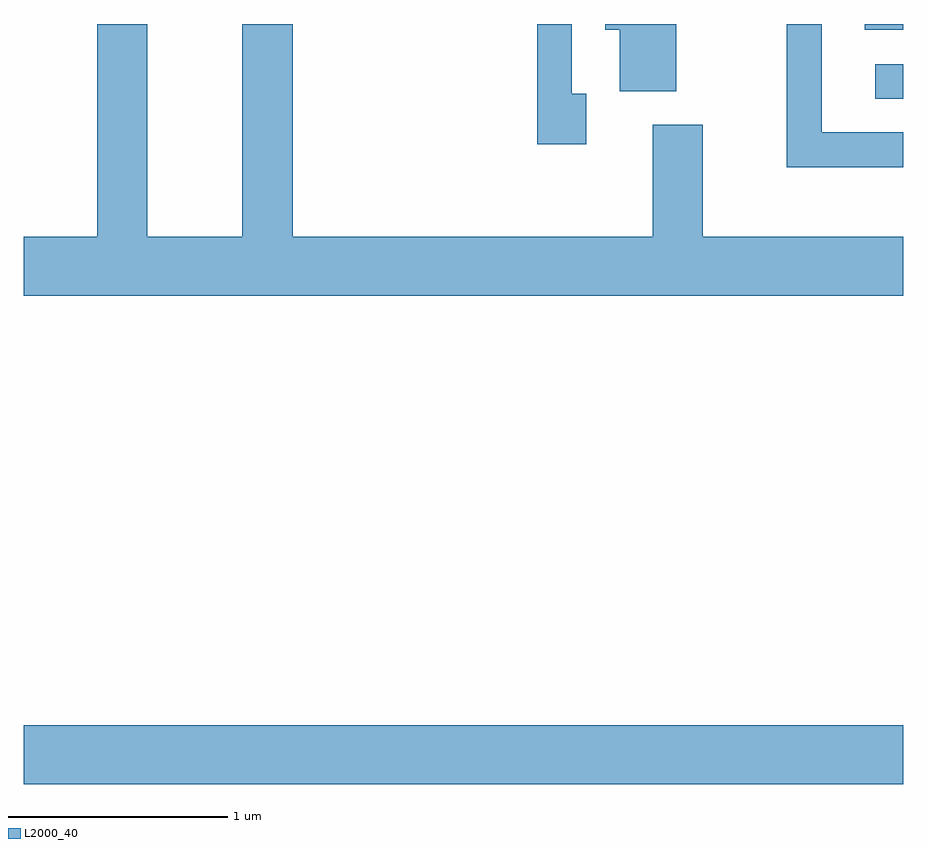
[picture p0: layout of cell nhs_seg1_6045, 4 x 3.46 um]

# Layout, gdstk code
import gdstk
lib = gdstk.Library(unit=1e-6, precision=1e-09)
def R(c, l, rs):  # rectangles x0, y0, x1, y1
    for r in rs: c.add(gdstk.rectangle(r[:2], r[2:], *l))
def P(c, l, *ps):  # polygons
    for p in ps: c.add(gdstk.Polygon(p, *l))
L2000_40 = (2000, 40)

nhs_seg1_6045 = lib.new_cell('nhs_seg1_6045')
R(nhs_seg1_6045, L2000_40, [(367.611,886.256,371.611,886.524), (371.483,889.371,371.611,889.529), (371.436,889.686,371.611,889.712)])
P(nhs_seg1_6045, L2000_40, [(371.611,888.744),(370.699,888.744),(370.699,889.254),(370.471,889.254),(370.471,888.744),(368.834,888.744),(368.834,889.712),(368.606,889.712),(368.606,888.744),(368.174,888.744),(368.174,889.712),(367.946,889.712),(367.946,888.744),(367.611,888.744),(367.611,888.476),(371.611,888.476)],
  [(371.611,889.219),(371.239,889.219),(371.239,889.712),(371.081,889.712),(371.081,889.061),(371.611,889.061)],
  [(370.169,889.394),(370.104,889.394),(370.104,889.712),(369.946,889.712),(369.946,889.166),(370.169,889.166)],
  [(370.579,889.712),(370.256,889.712),(370.256,889.686),(370.321,889.686),(370.321,889.406),(370.579,889.406)])

lib.write_gds('nhs_seg1_6045.gds')
